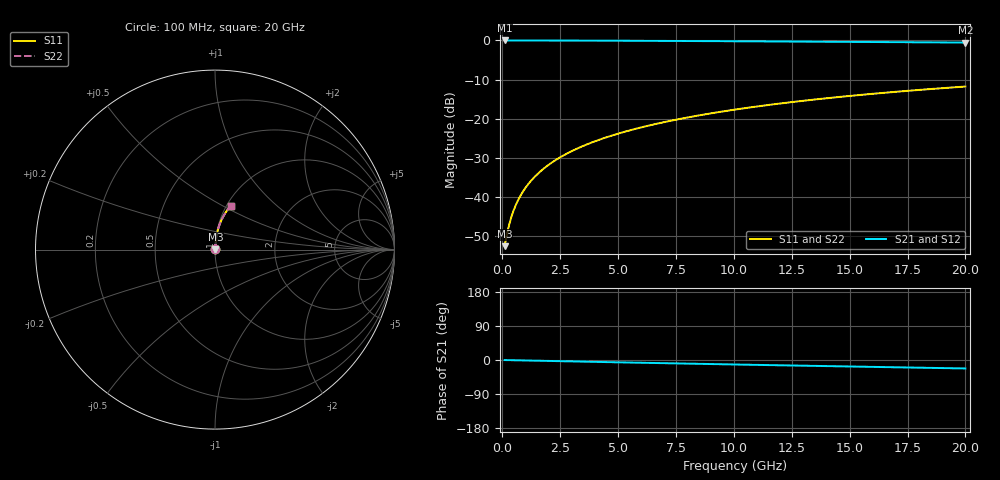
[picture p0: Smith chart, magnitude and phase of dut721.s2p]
! Touchstone file exported from HFSS 2024.1.0
!  File:  C:/UserFiles/LocalFiles/RDL_TSV_Batchsim/temp_RDL_top_721_1779850648.aedt
!  Generated:  10:59:46 AM May 27, 2026
!  Design:  RDL_top
!  Project:  temp_RDL_top_721_1779850648
!  Setup:  Setup1
!  Solution:  Sweep
! Variables:
!  dtsv = 10.80580581um
!  hbump = 3um
!  htsv = 54.42um
!  ldown = 100um
!  lrdl = 289.83um
!  p = 40
!  p1 = 40.71um
!  rhole = 1um
!  t = 450um
!  tdown = 3.915915916um
!  trdl = 4.04um
!  wdown = 15.38538539um
!  wrdl = 14.01um
# GHz S MA R 50.000000
! Terminal data exported
! Port[1] = Box2_T1
! Port[2] = Box2_T2
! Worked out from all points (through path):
!   200 points, 100 MHz to 20 GHz, reference 50 ohm
!   highest |S21| = -0.02 dB at 100 MHz (marker M1); lowest = -0.6 dB at 20 GHz (marker M2)
!   group delay of S21, straight-line fit = 3.08 ps
!   lowest |S11| = -52.5 dB at 100 MHz (marker M3), VSWR 1.00, Z = 50.2 + j0.136 ohm
!   |S11| at or under -10 dB: start of sweep to end of sweep
!   |S22| runs from -52.5 to -11.8 dB; largest |S21 - S12| = 5.2e-15
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0.1  0.00237 34.9  0.9981 -0.1  0.9981 -0.1  0.00237 34.9
! Gamma 0 0 0 0
! Port Impedance 50 0 50 0
0.2  0.003349 53.4  0.998 -0.3  0.998 -0.3  0.003349 53.4
0.3  0.004493 62.8  0.9979 -0.4  0.9979 -0.4  0.004493 62.8
0.4  0.005689 68.2  0.9979 -0.5  0.9979 -0.5  0.005689 68.2
0.5  0.006907 71.8  0.9978 -0.6  0.9978 -0.6  0.006907 71.8
0.6  0.008138 74.3  0.9977 -0.8  0.9977 -0.8  0.008138 74.3
0.8  0.01063 77.6  0.9976 -1.0  0.9976 -1.0  0.01063 77.6
1.1  0.0144 80.3  0.9974 -1.4  0.9974 -1.4  0.0144 80.3
1.5  0.01948 82.3  0.997 -1.9  0.997 -1.9  0.01948 82.3
1.8  0.0233 83.1  0.9967 -2.2  0.9967 -2.2  0.0233 83.1
2.1  0.02714 83.7  0.9963 -2.6  0.9963 -2.6  0.02714 83.7
2.7  0.03483 84.2  0.9955 -3.4  0.9955 -3.4  0.03483 84.2
3.5  0.04514 84.4  0.994 -4.3  0.994 -4.3  0.04514 84.4
4.2  0.05419 84.3  0.9926 -5.2  0.9926 -5.2  0.05419 84.3
5  0.06458 84.1  0.9906 -6.1  0.9906 -6.1  0.06458 84.1
5.9  0.07633 83.6  0.9883 -7.2  0.9883 -7.2  0.07633 83.6
6.8  0.08814 83.0  0.9857 -8.2  0.9857 -8.2  0.08814 83.0
8.3  0.1079 81.9  0.9811 -9.9  0.9811 -9.9  0.1079 81.9
10.1  0.1317 80.3  0.9751 -11.9  0.9751 -11.9  0.1317 80.3
13.4  0.175 77.2  0.9635 -15.5  0.9635 -15.5  0.175 77.2
16.7  0.2172 73.8  0.9511 -19.0  0.9511 -19.0  0.2172 73.8
20  0.2579 70.4  0.9379 -22.3  0.9379 -22.3  0.2579 70.4
